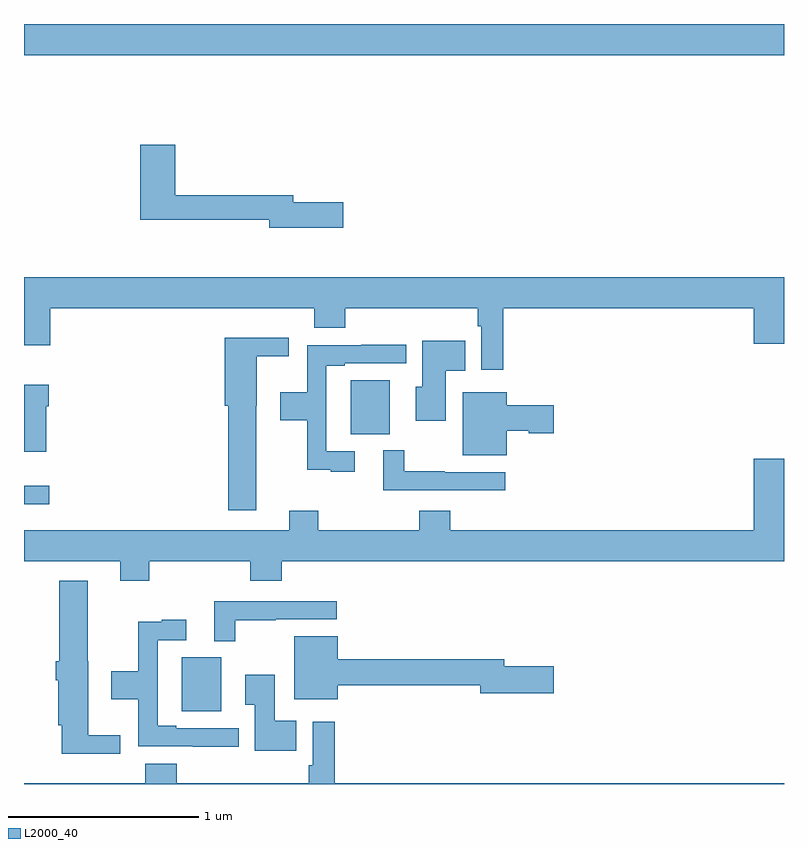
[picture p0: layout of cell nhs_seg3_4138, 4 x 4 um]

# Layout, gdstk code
import gdstk
lib = gdstk.Library(unit=1e-6, precision=1e-09)
def R(c, l, rs):  # rectangles x0, y0, x1, y1
    for r in rs: c.add(gdstk.rectangle(r[:2], r[2:], *l))
def P(c, l, *ps):  # polygons
    for p in ps: c.add(gdstk.Polygon(p, *l))
L2000_40 = (2000, 40)

nhs_seg3_4138 = lib.new_cell('nhs_seg3_4138')
R(nhs_seg3_4138, L2000_40, [(329.831,710.783,330.037,711.067), (329,711.872,329.134,711.969), (330.719,712.241,330.925,712.525), (329,714.236,333,714.4)])
P(nhs_seg3_4138, L2000_40, [(330.679,713.462),(330.418,713.462),(330.418,713.498),(329.795,713.498),(329.795,713.764),(329.612,713.764),(329.612,713.37),(330.29,713.37),(330.29,713.327),(330.679,713.327)],
  [(331.523,712.904),(332.84,712.904),(332.84,712.716),(333,712.716),(333,713.068),(329,713.068),(329,712.71),(329.138,712.71),(329.138,712.904),(330.527,712.904),(330.527,712.802),(330.692,712.802),(330.692,712.904),(331.387,712.904),(331.387,712.808),(331.407,712.808),(331.407,712.581),(331.523,712.581)],
  [(330.223,712.392),(330.226,712.392),(330.226,712.652),(330.394,712.652),(330.394,712.75),(330.056,712.75),(330.056,712.392),(330.074,712.392),(330.074,711.84),(330.223,711.84)],
  [(331.219,712.574),(331.322,712.574),(331.322,712.732),(331.097,712.732),(331.097,712.491),(331.061,712.491),(331.061,712.313),(331.219,712.313)],
  [(330.742,712.152),(330.591,712.152),(330.591,712.602),(330.688,712.602),(330.688,712.614),(331.012,712.614),(331.012,712.712),(330.775,712.712),(330.775,712.71),(330.49,712.71),(330.49,712.462),(330.348,712.462),(330.348,712.315),(330.49,712.315),(330.49,712.055),(330.614,712.055),(330.614,712.044),(330.742,712.044)],
  [(329.116,712.388),(329.129,712.388),(329.129,712.501),(329,712.501),(329,712.148),(329.116,712.148)],
  [(331.54,712.259),(331.656,712.259),(331.656,712.247),(331.789,712.247),(331.789,712.394),(331.54,712.394),(331.54,712.462),(331.31,712.462),(331.31,712.13),(331.54,712.13)],
  [(331.534,712.041),(331.214,712.041),(331.214,712.046),(331,712.046),(331,712.156),(330.89,712.156),(330.89,711.945),(331.534,711.945)],
  [(329.66,711.572),(330.191,711.572),(330.191,711.47),(330.356,711.47),(330.356,711.572),(333,711.572),(333,712.111),(332.84,712.111),(332.84,711.736),(331.244,711.736),(331.244,711.838),(331.079,711.838),(331.079,711.736),(330.548,711.736),(330.548,711.838),(330.395,711.838),(330.395,711.736),(329,711.736),(329,711.572),(329.507,711.572),(329.507,711.47),(329.66,711.47)],
  [(329.506,710.657),(329.338,710.657),(329.338,711.045),(329.335,711.045),(329.335,711.469),(329.186,711.469),(329.186,711.045),(329.168,711.045),(329.168,710.945),(329.18,710.945),(329.18,710.709),(329.198,710.709),(329.198,710.558),(329.506,710.558)],
  [(330.112,711.262),(330.326,711.262),(330.326,711.267),(330.646,711.267),(330.646,711.363),(330.002,711.363),(330.002,711.152),(330.112,711.152)],
  [(330.13,710.694),(329.8,710.694),(329.8,710.707),(329.703,710.707),(329.703,711.156),(329.854,711.156),(329.854,711.265),(329.726,711.265),(329.726,711.254),(329.602,711.254),(329.602,710.994),(329.46,710.994),(329.46,710.846),(329.602,710.846),(329.602,710.598),(329.887,710.598),(329.887,710.597),(330.13,710.597)],
  [(330.652,710.92),(331.4,710.92),(331.4,710.878),(331.789,710.878),(331.789,711.02),(331.528,711.02),(331.528,711.056),(330.652,711.056),(330.652,711.178),(330.422,711.178),(330.422,710.846),(330.652,710.846)],
  [(330.434,710.734),(330.319,710.734),(330.319,710.974),(330.165,710.974),(330.165,710.818),(330.215,710.818),(330.215,710.576),(330.434,710.576)],
  [(333,710.404),(330.635,710.404),(330.635,710.728),(330.519,710.728),(330.519,710.5),(330.499,710.5),(330.499,710.404),(329.804,710.404),(329.804,710.506),(329.639,710.506),(329.639,710.404),(329,710.404),(329,710.4),(333,710.4)])

lib.write_gds('nhs_seg3_4138.gds')
